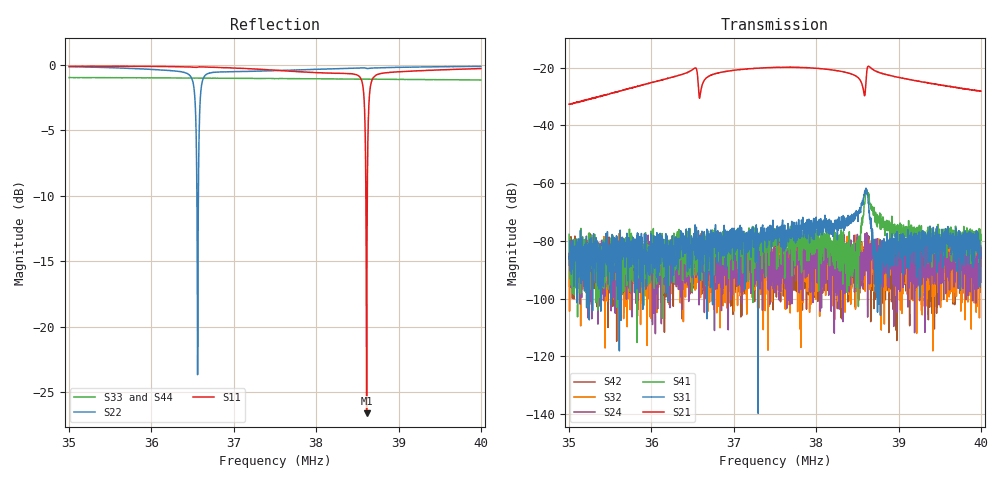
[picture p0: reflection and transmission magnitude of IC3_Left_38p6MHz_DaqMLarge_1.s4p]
#  HZ  S  DB  R  50.00
! Rohde & Schwarz Vector Network Analyzer
! Rohde-Schwarz,ZNB8-4Port,1311601044102961,2.82
! Created: UTC 2/12/2019, 1:42:25 PM
! freq[Hz]  db:S11  ang:S11  db:S12  ang:S12  db:S13  ang:S13  db:S14  ang:S14
!  db:S21  ang:S21  db:S22  ang:S22  db:S23  ang:S23  db:S24  ang:S24
!  db:S31  ang:S31  db:S32  ang:S32  db:S33  ang:S33  db:S34  ang:S34
!  db:S41  ang:S41  db:S42  ang:S42  db:S43  ang:S43  db:S44  ang:S44
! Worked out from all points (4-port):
!   2001 points, 35 MHz to 40 MHz, reference 50 ohm
!   strongest paths, dB at 35 MHz, 36.25 MHz, 37.5 MHz, 38.75 MHz, 40 MHz:
!     S21: -32.7, -23.3, -19.9, -21.5, -28.1
!     S31: -86.0, -80.3, -79.1, -86.4, -85.0
!     S41: -77.8, -85.0, -81.5, -72.8, -79.8
!     S24: -84.4, -87.7, -82.7, -84.7, -94.3
!     S32: -85.6, -79.6, -91.2, -84.6, -88.3
!     S42: -84.7, -86.1, -88.3, -88.1, -81.9
!   lowest |S11| = -26.6 dB at 38.61 MHz (marker M1), VSWR 1.10, Z = 45.6 + j0.702 ohm
!   |S11| at or under -10 dB: 38.6035 MHz to 38.62066 MHz (17.17 kHz wide, 0.0445 % of centre)
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3.5e7  -0.12 19.6  -32.68 -89.9  -91.28 2.5  -80.72 -46.7
       -32.70 -90.4  -0.16 -18.4  -85.11 -119.3  -84.37 -98.3
       -85.96 -135.4  -85.63 171.9  -0.98 -68.4  -86.56 -109.8
       -77.76 -70.2  -84.68 -68.4  -81.91 -140.3  -1.00 -74.5
3.60575e7  -0.13 -10.5  -24.82 -142.6  -86.73 -161.8  -83.22 -154.6
           -24.79 -142.8  -0.38 -92.3  -96.45 29.0  -87.00 19.1
           -78.68 -97.2  -85.26 166.4  -1.00 -81.4  -90.20 176.6
           -81.68 -169.8  -82.62 68.9  -82.20 149.4  -1.03 -87.8
3.6935e7  -0.23 -52.0  -21.18 156.0  -76.82 -163.9  -80.54 -142.6
          -21.20 155.8  -0.54 -174.5  -82.97 7.5  -84.01 132.8
          -77.92 153.8  -83.55 27.0  -1.03 -92.3  -99.34 131.1
          -83.78 -159.6  -90.38 166.9  -88.94 104.6  -1.04 -98.8
3.8145e7  -0.63 -164.5  -20.63 57.4  -77.65 151.3  -81.54 157.8
          -20.65 57.1  -0.33 97.9  -79.20 -48.2  -83.64 -3.3
          -72.87 131.1  -91.68 -74.1  -1.08 -107.4  -85.54 42.5
          -80.26 146.7  -88.81 -38.6  -85.24 57.9  -1.09 -114.0
3.86125e7  -26.60 170.5  -21.84 81.3  -63.47 22.6  -62.85 -168.2
           -21.87 81.2  -0.28 78.2  -76.56 -166.8  -77.12 2.1
           -62.29 18.2  -85.63 -95.7  -1.10 -113.3  -88.26 91.3
           -63.10 -166.9  -83.65 -22.2  -87.44 -104.8  -1.11 -119.9
3.8715e7  -0.85 153.7  -21.10 26.0  -82.35 -8.2  -73.13 112.1
          -21.10 25.9  -0.24 74.9  -87.58 -158.7  -89.19 -29.6
          -90.58 81.8  -88.66 133.5  -1.11 -114.5  -84.71 -46.5
          -72.28 107.1  -100.25 44.3  -85.76 161.0  -1.11 -121.2
4e7  -0.29 68.4  -28.15 -34.9  -78.96 22.9  -92.13 70.1
     -28.15 -35.0  -0.13 38.6  -77.09 63.0  -94.28 24.3
     -85.02 -14.2  -88.28 7.8  -1.16 -130.7  -85.92 -169.5
     -79.80 33.8  -81.90 6.5  -85.70 55.7  -1.16 -137.5
